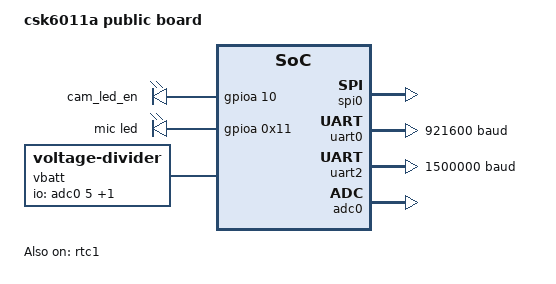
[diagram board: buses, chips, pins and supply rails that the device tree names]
/* SPDX-License-Identifier: Apache-2.0 */

#include <csk/csk6.dtsi>
#include <dt-bindings/pwm/pwm.h>
#include "csk6011a_public_pinctrl.dtsi"


&csk6011a_public_pinctrl {
        pinctrl_pwm1_default: pwm1_default{
        };

        pinctrl_pwm2_default: pwm2_default{
        };

        pinctrl_uart2_tx_default: uart2_tx_default{
                pinctrls = <UART2_TXD_GPIOA_18>;
        };
        pinctrl_uart2_rx_default: uart2_rx_default{
                pinctrls = <UART2_RXD_GPIOA_15>;
        };

        pinctrl_uart0_tx_default: uart0_tx_default{
                pinctrls = <&pinmuxa 3 2>;
        };

        pinctrl_uart0_rx_default: uart0_rx_default{
                pinctrls = <&pinmuxa 2 2>;
        };

        pinctrl_uart1_tx_default: uart1_tx_default{
                pinctrls = <&pinmuxa 4 3>;
        };

        pinctrl_uart1_rx_default: uart1_rx_default{
                pinctrls = <&pinmuxa 5 3>;
        };
        pinctrl_i2c1_scl_default: i2c1_scl_default{
        };

        pinctrl_i2c1_sda_default: i2c1_sda_default{
        };

        pinctrl_spi1_sclk_default: spi1_sclk_default {
                pinctrls = <&pinmuxa 8 7>;
        };

        pinctrl_spi1_mosi_default: spi1_mosi_default {
                pinctrls = <&pinmuxa 7 7>;
        };

        pinctrl_spi1_miso_default: spi1_miso_default {
        };

        pinctrl_spi1_cs_default: spi1_cs_default {
                pinctrls = <&pinmuxa 9 7>;
        };

        pinctrl_spi0_sclk_default: spi0_sclk_default {
                pinctrls = <&pinmuxb 9 6>;
        };

        pinctrl_spi0_mosi_default: spi0_mosi_default {
                pinctrls = <&pinmuxb 6 6>;
        };

        pinctrl_spi0_miso_default: spi0_miso_default {
                pinctrls = <&pinmuxb 7 6>;
        };

        pinctrl_spi0_cs_default: spi0_cs_default {
                pinctrls = <&pinmuxb 8 6>;
        };

};

/ {
        model = "csk6011a public board";
        compatible = "csk,csk6011a_public";
        aliases {
                // led0 = &board_led_2;
                i2c-0 = &i2c0;
                i2c-1 = &i2c1;
                c-led = &camleds1;
                mic-led = &micled0;
                sensor-power = &sensor_pwr;
        };

        chosen {
                zephyr,console = &uart0;
                zephyr,uart-mcumgr = &uart0;
                zephyr,shell-uart = &uart0;
                zephyr,sram = &sram0;
                zephyr,itcm = &itcm0;
                zephyr,dtcm = &dtcm0;
                zephyr,ipc = &mailbox0;
                zephyr,psramap = &psram_ap;
                zephyr,psramcp = &psram_cp;
                zephyr,psram = &psram0;
                zephyr,flash = &flash0;
                zephyr,flash_controller = &flash;
                zephyr,entropy = &trng;
                /* other chosen settings  for your hardware */
        };


        leds {
                compatible = "gpio-leds";
                camleds1: cam_led_en  {
                        gpios = <&gpioa 10 0>;
                        label = "cam_led_en";
                };
                micled0: mic_led0 {
                        gpios = <&gpioa 0x11 0x0>;
                        label = "mic led";
                };

        };

        vbatt {
                compatible = "voltage-divider";
                io-channels = <&adc0 5>, <&adc0 6>;
                output-ohms = <0>;
        };

        gpio,user {
                compatible = "listenai,csk-gpio-user";
                pwrlock: powerlock {
                        gpios = <&gpiob 4 1>;
                        label = "power_lock";
                };
                scankey: SCANKEY {
                        gpios = <&gpiob 4 0>;
                        label = "scan_key";
                };
                sensor_pwr: sensor_pwr {
                        gpios = <&gpioa 14 0>;
                        label = "sensor power";
                };
                pamute: PAMUTE {
                        gpios = <&gpiob 5 1>;
                        label = "PA_MUTE";
                };
        };
};

&gpt0 {
        status = "disabled";
        pwmlcd: pwm1 {
                pinctrl-0 = <&pinctrl_pwm1_default>;
                pinctrl-names = "default";
                clock-prescaler = <1>;
                status = "disabled";
        };
        pwm2: pwm2 {
                clock-prescaler = <1>;
                status = "disabled";
                pinctrl-0 = <&pinctrl_pwm2_default>;
                pinctrl-names = "default";
        };
};


&spi0 {
        status = "okay";
        spi-max-frequency = <50000000>;
        pinctrl-0 = <&pinctrl_spi0_sclk_default &pinctrl_spi0_mosi_default &pinctrl_spi0_miso_default &pinctrl_spi0_cs_default>;
        pinctrl-names = "default";
};

&spi1 {
        status = "disabled";
};

&i2c0 {
        status = "disabled";
};

&i2c1 {
        status = "disabled";
};
&gpioa {
        status = "okay";
};

&gpiob {
        status = "okay";
};


// AP
&uart0 {
        pinctrl-0 = <&pinctrl_uart0_rx_default &pinctrl_uart0_tx_default>;
        pinctrl-names = "default";
        current-speed = <921600>;
        status = "okay";
};


// cp
&uart1 {
        pinctrl-0 = <&pinctrl_uart1_rx_default &pinctrl_uart1_tx_default>;
        pinctrl-names = "default";
        current-speed = <921600>;
        status = "disabled";
};

// 上位机
&uart2 {
        pinctrl-0 = <&pinctrl_uart2_rx_default &pinctrl_uart2_tx_default>;
        pinctrl-names = "default";
        current-speed = <1500000>;
        status = "okay";
};


&mailbox0 {
        status = "okay";
};
&dma0 {
        dma-channels = <6>;
        status = "okay";
};

&rtc1 {
        status = "okay";
};
&adc0 {
        status = "okay";
};

&flash0 {
        /*
         * For more information, see:
         * http: //docs.zephyrproject.org/latest/guides/dts/index.html#flash-partitions
         */
        reg = <0x18000000 DT_SIZE_M(16)>;
        write-block-size = <4>;
        partitions {
                compatible = "fixed-partitions";
                #address-cells = <1>;
                #size-cells = <1>;


                /* application image slot: 1MB */
                slot0_partition: partition@0 {
                        reg = <0x0 0x800000>;
                };
        };
};
&sram0 {
        compatible = "mmio-sram";
        reg = <0x80000 0x40000>;
};

&psram0 {
        compatible = "listenai,csk6-psram";
        reg = <0x30000000 0x800000>;
        #address-cells = <0x1>;
        #size-cells = <0x1>;
        psram_cp: psram_cp@30000000 {
                compatible = "listenai,csk6-psram-partition";
                reg = <0x30000000 0x780000>;
                status = "okay";
        };
        psram_ap: psram_ap@30780000 {
                compatible = "zephyr,memory-region",
                             "listenai,csk6-psram-partition";
                reg = <0x30780000 0x80000>;
                status = "okay";
                zephyr,memory-region = "PSRAMAP";
        };
};

&sdmmc {
        status = "disabled";
};
